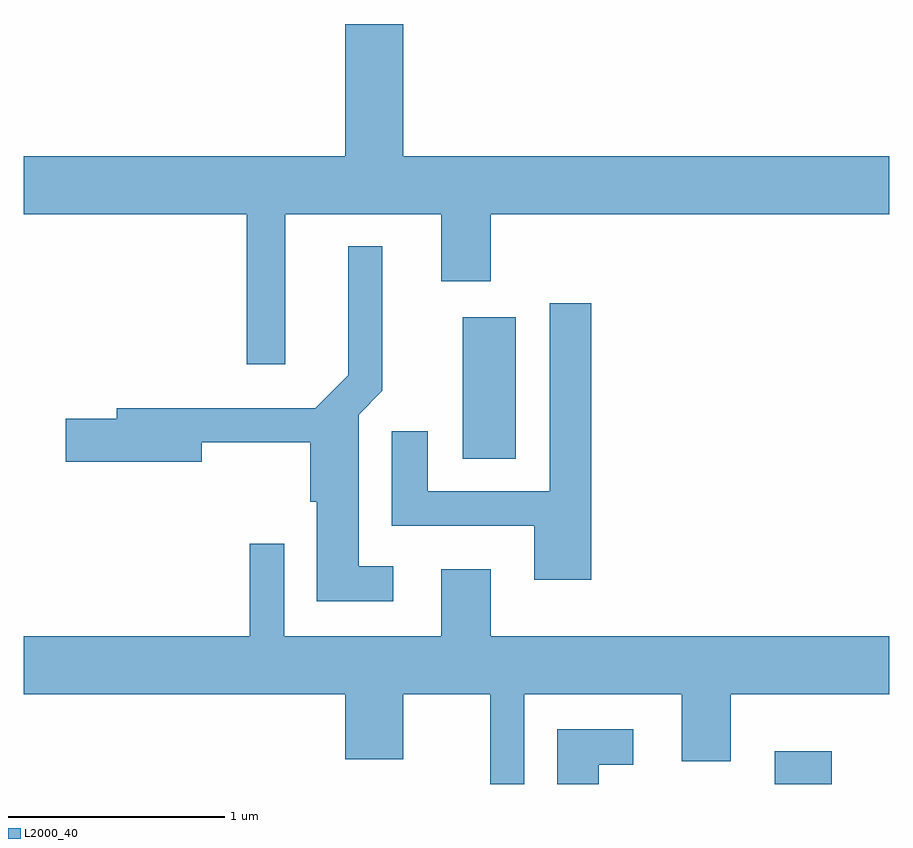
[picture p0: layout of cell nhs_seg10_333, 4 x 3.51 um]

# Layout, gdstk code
import gdstk
lib = gdstk.Library(unit=1e-6, precision=1e-09)
def R(c, l, rs):  # rectangles x0, y0, x1, y1
    for r in rs: c.add(gdstk.rectangle(r[:2], r[2:], *l))
def P(c, l, *ps):  # polygons
    for p in ps: c.add(gdstk.Polygon(p, *l))
L2000_40 = (2000, 40)

nhs_seg10_333 = lib.new_cell('nhs_seg10_333')
R(nhs_seg10_333, L2000_40, [(197.081,2204.522,197.344,2204.674), (195.641,2206.026,195.884,2206.679)])
P(nhs_seg10_333, L2000_40, [(194.819,2207.156),(195.541,2207.156),(195.541,2206.846),(195.769,2206.846),(195.769,2207.156),(197.611,2207.156),(197.611,2207.424),(195.364,2207.424),(195.364,2208.034),(195.096,2208.034),(195.096,2207.424),(193.611,2207.424),(193.611,2207.156),(194.641,2207.156),(194.641,2206.461),(194.819,2206.461)],
  [(195.318,2205.529),(195.159,2205.529),(195.159,2206.229),(195.269,2206.339),(195.269,2207.008),(195.111,2207.008),(195.111,2206.412),(194.959,2206.259),(194.041,2206.259),(194.041,2206.209),(193.806,2206.209),(193.806,2206.011),(194.434,2206.011),(194.434,2206.101),(194.936,2206.101),(194.936,2205.826),(194.966,2205.826),(194.966,2205.366),(195.318,2205.366)],
  [(196.234,2206.744),(196.041,2206.744),(196.041,2205.874),(195.479,2205.874),(195.479,2206.153),(195.311,2206.153),(195.311,2205.716),(195.971,2205.716),(195.971,2205.466),(196.234,2205.466)],
  [(195.924,2204.936),(196.651,2204.936),(196.651,2204.626),(196.879,2204.626),(196.879,2204.936),(197.611,2204.936),(197.611,2205.204),(195.769,2205.204),(195.769,2205.514),(195.541,2205.514),(195.541,2205.204),(194.814,2205.204),(194.814,2205.633),(194.656,2205.633),(194.656,2205.204),(193.611,2205.204),(193.611,2204.936),(195.096,2204.936),(195.096,2204.636),(195.364,2204.636),(195.364,2204.936),(195.766,2204.936),(195.766,2204.522),(195.924,2204.522)],
  [(196.269,2204.611),(196.428,2204.611),(196.428,2204.774),(196.076,2204.774),(196.076,2204.522),(196.269,2204.522)])

lib.write_gds('nhs_seg10_333.gds')
